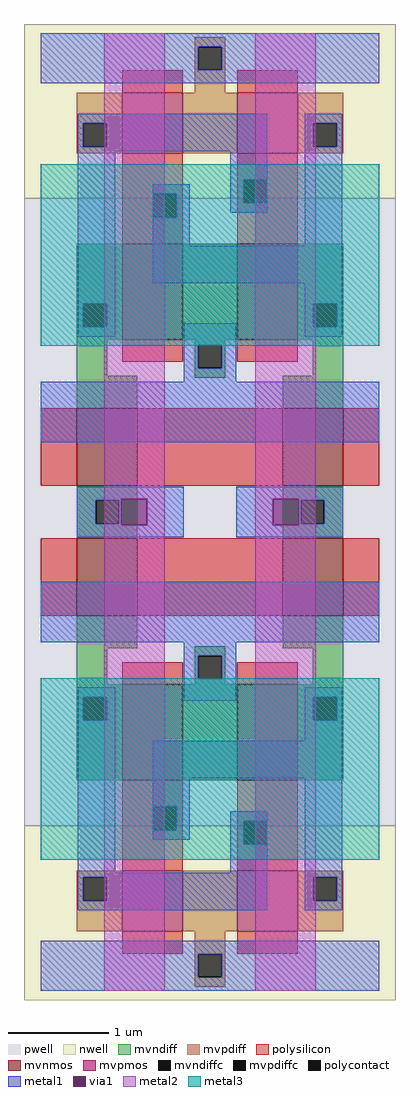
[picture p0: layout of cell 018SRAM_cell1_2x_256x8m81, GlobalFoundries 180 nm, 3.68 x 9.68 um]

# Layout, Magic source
magic
tech gf180mcuC
magscale 1 5
use 018SRAM_cell1_256x8m81  018SRAM_cell1_256x8m81_0
transform 1 0 0 0 -1 450
box -34 -34 334 484
use 018SRAM_cell1_256x8m81  018SRAM_cell1_256x8m81_1
transform 1 0 0 0 1 450
box -34 -34 334 484
<< properties >>
string GDS_END 554156
string GDS_FILE $PDKPATH/libs.ref/gf180mcu_fd_ip_sram/gds/gf180mcu_fd_ip_sram__sram256x8m8wm1.gds
string GDS_START 554054
<< end >>

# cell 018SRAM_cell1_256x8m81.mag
magic
tech gf180mcuC
magscale 1 10
<< nwell >>
rect -68 622 668 968
<< pwell >>
rect -68 -68 668 622
<< mvnmos >>
rect 126 342 246 532
rect 354 342 474 532
rect 36 52 156 206
rect 444 52 564 206
<< mvpmos >>
rect 126 712 246 832
rect 354 712 474 832
<< mvndiff >>
rect 36 413 126 532
rect 36 367 49 413
rect 95 367 126 413
rect 36 342 126 367
rect 246 342 354 532
rect 474 413 564 532
rect 474 367 505 413
rect 551 367 564 413
rect 474 342 564 367
rect 36 270 96 342
rect 270 331 330 342
rect 270 285 277 331
rect 323 285 330 331
rect 36 206 156 270
rect 270 266 330 285
rect 504 270 564 342
rect 444 206 564 270
rect 36 23 156 52
rect 36 -23 73 23
rect 119 -23 156 23
rect 36 -42 156 -23
rect 444 23 564 52
rect 444 -23 481 23
rect 527 -23 564 23
rect 444 -42 564 -23
<< mvpdiff >>
rect 270 923 330 942
rect 270 877 277 923
rect 323 877 330 923
rect 270 832 330 877
rect 36 771 126 832
rect 36 725 49 771
rect 95 725 126 771
rect 36 712 126 725
rect 246 712 354 832
rect 474 771 564 832
rect 474 725 505 771
rect 551 725 564 771
rect 474 712 564 725
<< mvndiffc >>
rect 49 367 95 413
rect 505 367 551 413
rect 277 285 323 331
rect 73 -23 119 23
rect 481 -23 527 23
<< mvpdiffc >>
rect 277 877 323 923
rect 49 725 95 771
rect 505 725 551 771
<< polysilicon >>
rect 126 832 246 876
rect 354 832 474 876
rect 126 631 246 712
rect 126 585 187 631
rect 233 585 246 631
rect 126 532 246 585
rect 354 659 474 712
rect 354 613 367 659
rect 413 613 474 659
rect 354 532 474 613
rect 126 298 246 342
rect 354 298 474 342
rect -36 52 36 206
rect 156 52 444 206
rect 564 52 636 206
<< polycontact >>
rect 187 585 233 631
rect 367 613 413 659
<< metal1 >>
rect -36 923 636 950
rect -36 877 277 923
rect 323 877 636 923
rect -36 850 636 877
rect 38 771 414 790
rect 38 725 49 771
rect 95 725 414 771
rect 38 716 414 725
rect 38 413 112 716
rect 340 659 414 716
rect 186 631 260 650
rect 186 585 187 631
rect 233 585 260 631
rect 340 613 367 659
rect 413 613 414 659
rect 340 594 414 613
rect 488 771 562 790
rect 488 725 505 771
rect 551 725 562 771
rect 186 528 260 585
rect 488 528 562 725
rect 186 454 562 528
rect 38 367 49 413
rect 95 367 112 413
rect 488 413 562 454
rect 38 348 112 367
rect 248 331 352 374
rect 488 367 505 413
rect 551 367 562 413
rect 488 348 562 367
rect 248 285 277 331
rect 323 285 352 331
rect 248 258 352 285
rect -36 138 636 258
rect 36 26 248 50
rect 36 23 124 26
rect 36 -23 73 23
rect 119 -23 124 23
rect 36 -26 124 -23
rect 176 -26 248 26
rect 36 -50 248 -26
rect 352 26 564 50
rect 352 -26 424 26
rect 476 23 564 26
rect 476 -23 481 23
rect 527 -23 564 23
rect 476 -26 564 -23
rect 352 -50 564 -26
<< via1 >>
rect 124 -26 176 26
rect 424 -26 476 26
<< metal2 >>
rect 90 26 210 950
rect 90 -26 124 26
rect 176 -26 210 26
rect 90 -50 210 -26
rect 390 26 510 950
rect 390 -26 424 26
rect 476 -26 510 26
rect 390 -50 510 -26
<< metal3 >>
rect -36 330 636 690
<< properties >>
string FIXED_BBOX -68 -68 668 968
string GDS_END 214504
string GDS_FILE $PDKPATH/libs.ref/gf180mcu_fd_ip_sram/gds/gf180mcu_fd_ip_sram__sram256x8m8wm1.gds
string GDS_START 212020
<< end >>
